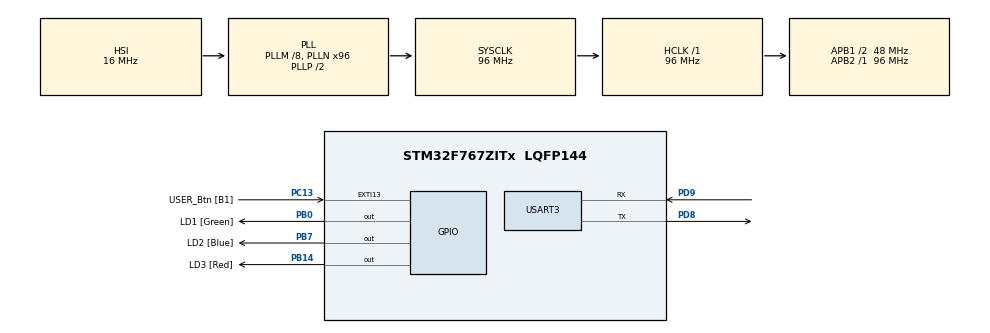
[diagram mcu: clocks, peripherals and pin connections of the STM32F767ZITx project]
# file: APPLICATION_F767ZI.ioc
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Mcu.Family=STM32F7
Mcu.Name=STM32F767ZITx
Mcu.Package=LQFP144
NVIC.PriorityGroup=NVIC_PRIORITYGROUP_4
PB0.GPIO_Label=LD1 [Green]
PB0.Signal=GPIO_Output
PB14.GPIO_Label=LD3 [Red]
PB14.Signal=GPIO_Output
PB7.GPIO_Label=LD2 [Blue]
PB7.Signal=GPIO_Output
PC13.GPIO_Label=USER_Btn [B1]
PC13.Signal=GPXTI13
PD8.Mode=Asynchronous
PD8.Signal=USART3_TX
PD9.Mode=Asynchronous
PD9.Signal=USART3_RX
ProjectManager.HeapSize=0x200
ProjectManager.StackSize=0x400
ProjectManager.TargetToolchain=STM32CubeIDE
RCC.48MHZClocksFreq_Value=24000000
RCC.AHBFreq_Value=96000000
RCC.APB1CLKDivider=RCC_HCLK_DIV2
RCC.APB1Freq_Value=48000000
RCC.APB1TimFreq_Value=96000000
RCC.APB2Freq_Value=96000000
RCC.APB2TimFreq_Value=96000000
RCC.CortexFreq_Value=96000000
RCC.HCLKFreq_Value=96000000
RCC.HSE_VALUE=8000000
RCC.HSI_VALUE=16000000
RCC.LSE_VALUE=32768
RCC.PLLM=8
RCC.PLLMUL=RCC_PLL_MUL9
RCC.PLLN=96
RCC.PLLQ=4
RCC.PRESCALERUSB=RCC_USBCLKSOURCE_PLL_DIV1_5
RCC.SYSCLKFreq_VALUE=96000000
RCC.SYSCLKSource=RCC_SYSCLKSOURCE_PLLCLK
RCC.SYSCLKSourceVirtual=RCC_SYSCLKSOURCE_PLLCLK
RCC.USBFreq_Value=48000000
RCC.VCOOutputFreq_Value=192000000
USART3.VirtualMode-Asynchronous=VM_ASYNC
board=NUCLEO-F767ZI

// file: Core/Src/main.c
/* USER CODE BEGIN Header */
/**
  ******************************************************************************
  * @file           : main.c
  * @brief          : Main program body
  ******************************************************************************
  * @attention
  *
  * Copyright (c) 2025 STMicroelectronics.
  * All rights reserved.
  *
  * This software is licensed under terms that can be found in the LICENSE file
  * in the root directory of this software component.
  * If no LICENSE file comes with this software, it is provided AS-IS.
  *
  ******************************************************************************
  */
/* USER CODE END Header */
#include "main.h"

/* USER CODE BEGIN Includes */

#include "string.h"
#include "stdio.h"

/* USER CODE END Includes */

UART_HandleTypeDef huart3;

void SystemClock_Config(void);
static void MX_GPIO_Init(void);
static void MX_USART3_UART_Init(void);
/* USER CODE BEGIN PFP */

uint32_t Address = 0x080E0000;
uint8_t count;

int write(char *ptr);
static void goto_bootloader(void);

void erase_flash(void);
void program_flash(uint8_t data);
void read_flash(void);

/* USER CODE END PFP */

int main(void)
{

  /* USER CODE BEGIN 1 */
	SCB->VTOR = 0x08100000;

  /* USER CODE END 1 */

  /* MCU Configuration--------------------------------------------------------*/

  /* Reset of all peripherals, Initializes the Flash interface and the Systick. */

  HAL_Init();

  /* USER CODE BEGIN Init */
  uint32_t tickstartld = 0;
  uint32_t waitld = 500;

  GPIO_PinState Bt_state;

  uint32_t tick = 0;

  uint8_t buttonPressed = 0;
  uint32_t pressStartTick = 0;

  /* USER CODE END Init */

  /* Configure the system clock */
  SystemClock_Config();

  /* Initialize all configured peripherals */
  MX_GPIO_Init();
  MX_USART3_UART_Init();
  /* USER CODE BEGIN 2 */
  HAL_GPIO_WritePin(GPIOB, GPIO_PIN_7, GPIO_PIN_RESET);

  write("\nStarting application\n");

  read_flash();
  if(count == 0){
	  write("Blue led should blink");
  }
  else{
	  write("Red led should blink");
  }

  //uint8_t count = 0;

  /* USER CODE END 2 */

  /* Infinite loop */
  /* USER CODE BEGIN WHILE */
  while (1)
  {

	  tick = HAL_GetTick();

	  if ((tick - tickstartld) >= waitld)
	  {
	  	tickstartld = tick;

	  	if (count == 0) {
	  		HAL_GPIO_WritePin(GPIOB, GPIO_PIN_14, GPIO_PIN_RESET);
	  		HAL_GPIO_TogglePin(GPIOB, GPIO_PIN_7);

	  	} else {
	  		HAL_GPIO_WritePin(GPIOB, GPIO_PIN_7, GPIO_PIN_RESET);
	  		HAL_GPIO_TogglePin(GPIOB, GPIO_PIN_14);
	  	}
	  }

	  Bt_state = HAL_GPIO_ReadPin(GPIOC, GPIO_PIN_13);

	  if (Bt_state == GPIO_PIN_SET) {
	  	if (!buttonPressed) {

	  		buttonPressed = 1;
	  		pressStartTick = tick;
	  	}
	  } else {
	  	if (buttonPressed) {

	  		buttonPressed = 0;
	  		if ((tick - pressStartTick) >= 3000) {
	  			goto_bootloader();
	  		} else {
	  			count = !count;
	  			erase_flash();
	  			program_flash(count);

	  		}
	  	}
	  }

    /* USER CODE END WHILE */

  }
}

void SystemClock_Config(void)
{
  RCC_OscInitTypeDef RCC_OscInitStruct = {0};
  RCC_ClkInitTypeDef RCC_ClkInitStruct = {0};

  /** Configure the main internal regulator output voltage
  */
  __HAL_RCC_PWR_CLK_ENABLE();
  __HAL_PWR_VOLTAGESCALING_CONFIG(PWR_REGULATOR_VOLTAGE_SCALE3);

  /** Initializes the RCC Oscillators according to the specified parameters
  * in the RCC_OscInitTypeDef structure.
  */
  RCC_OscInitStruct.OscillatorType = RCC_OSCILLATORTYPE_HSI;
  RCC_OscInitStruct.HSIState = RCC_HSI_ON;
  RCC_OscInitStruct.HSICalibrationValue = RCC_HSICALIBRATION_DEFAULT;
  RCC_OscInitStruct.PLL.PLLState = RCC_PLL_ON;
  RCC_OscInitStruct.PLL.PLLSource = RCC_PLLSOURCE_HSI;
  RCC_OscInitStruct.PLL.PLLM = 8;
  RCC_OscInitStruct.PLL.PLLN = 96;
  RCC_OscInitStruct.PLL.PLLP = RCC_PLLP_DIV2;
  RCC_OscInitStruct.PLL.PLLQ = 4;
  RCC_OscInitStruct.PLL.PLLR = 2;
  if (HAL_RCC_OscConfig(&RCC_OscInitStruct) != HAL_OK)
  {
    Error_Handler();
  }

  /** Activate the Over-Drive mode
  */
  if (HAL_PWREx_EnableOverDrive() != HAL_OK)
  {
    Error_Handler();
  }

  /** Initializes the CPU, AHB and APB buses clocks
  */
  RCC_ClkInitStruct.ClockType = RCC_CLOCKTYPE_HCLK|RCC_CLOCKTYPE_SYSCLK
                              |RCC_CLOCKTYPE_PCLK1|RCC_CLOCKTYPE_PCLK2;
  RCC_ClkInitStruct.SYSCLKSource = RCC_SYSCLKSOURCE_PLLCLK;
  RCC_ClkInitStruct.AHBCLKDivider = RCC_SYSCLK_DIV1;
  RCC_ClkInitStruct.APB1CLKDivider = RCC_HCLK_DIV2;
  RCC_ClkInitStruct.APB2CLKDivider = RCC_HCLK_DIV1;

  if (HAL_RCC_ClockConfig(&RCC_ClkInitStruct, FLASH_LATENCY_3) != HAL_OK)
  {
    Error_Handler();
  }
}

static void MX_USART3_UART_Init(void)
{

  huart3.Instance = USART3;
  huart3.Init.BaudRate = 115200;
  huart3.Init.WordLength = UART_WORDLENGTH_8B;
  huart3.Init.StopBits = UART_STOPBITS_1;
  huart3.Init.Parity = UART_PARITY_NONE;
  huart3.Init.Mode = UART_MODE_TX_RX;
  huart3.Init.HwFlowCtl = UART_HWCONTROL_NONE;
  huart3.Init.OverSampling = UART_OVERSAMPLING_16;
  huart3.Init.OneBitSampling = UART_ONE_BIT_SAMPLE_DISABLE;
  huart3.AdvancedInit.AdvFeatureInit = UART_ADVFEATURE_NO_INIT;
  if (HAL_UART_Init(&huart3) != HAL_OK)
  {
    Error_Handler();
  }

}

static void MX_GPIO_Init(void)
{
  GPIO_InitTypeDef GPIO_InitStruct = {0};

  /* GPIO Ports Clock Enable */
  __HAL_RCC_GPIOC_CLK_ENABLE();
  __HAL_RCC_GPIOB_CLK_ENABLE();
  __HAL_RCC_GPIOD_CLK_ENABLE();

  /*Configure GPIO pin Output Level */
  HAL_GPIO_WritePin(GPIOB, LD1_Pin|LD3_Pin|LD2_Pin, GPIO_PIN_RESET);

  /*Configure GPIO pin : USER_Btn_Pin */
  GPIO_InitStruct.Pin = USER_Btn_Pin;
  GPIO_InitStruct.Mode = GPIO_MODE_IT_RISING;
  GPIO_InitStruct.Pull = GPIO_NOPULL;
  HAL_GPIO_Init(USER_Btn_GPIO_Port, &GPIO_InitStruct);

  /*Configure GPIO pins : LD1_Pin LD3_Pin LD2_Pin */
  GPIO_InitStruct.Pin = LD1_Pin|LD3_Pin|LD2_Pin;
  GPIO_InitStruct.Mode = GPIO_MODE_OUTPUT_PP;
  GPIO_InitStruct.Pull = GPIO_NOPULL;
  GPIO_InitStruct.Speed = GPIO_SPEED_FREQ_LOW;
  HAL_GPIO_Init(GPIOB, &GPIO_InitStruct);

}

/* USER CODE BEGIN 4 */

int write(char *ptr){
	HAL_UART_Transmit(&huart3, (uint8_t*)ptr, strlen(ptr), HAL_MAX_DELAY);
	return strlen(ptr);
}

static void goto_bootloader(void)
{
//	write("\nJumping to bootloader");
//	void (*app_reset_handler) (void) = (void*) (*(volatile uint32_t *) (0x08000000 + 4));
//	app_reset_handler();

	NVIC_SystemReset();
}

void erase_flash(void){
	FLASH_EraseInitTypeDef ERASE_STRUCT;
	ERASE_STRUCT.TypeErase = FLASH_TYPEERASE_SECTORS;
	ERASE_STRUCT.Banks = FLASH_BANK_1;
	ERASE_STRUCT.Sector = FLASH_SECTOR_11;
	ERASE_STRUCT.NbSectors = 1;
	ERASE_STRUCT.VoltageRange = FLASH_VOLTAGE_RANGE_3;

	uint32_t Sector_error;

	HAL_FLASH_Unlock();
	HAL_FLASHEx_Erase(&ERASE_STRUCT, &Sector_error);
	HAL_FLASH_Lock();

}

void program_flash(uint8_t data){

	HAL_FLASH_Unlock();
	HAL_FLASH_Program(FLASH_TYPEPROGRAM_BYTE, Address, data);
	HAL_FLASH_Lock();

}

void read_flash(void){

	uint8_t data = (uint8_t) (* ((volatile uint32_t*) Address));

	if((data == 0) || (data == 1)){
		count = data;
	}
	else{
		count = 0;
	}

}

/* USER CODE END 4 */

void Error_Handler(void)
{
  __disable_irq();
  while (1)
  {
  }
}
